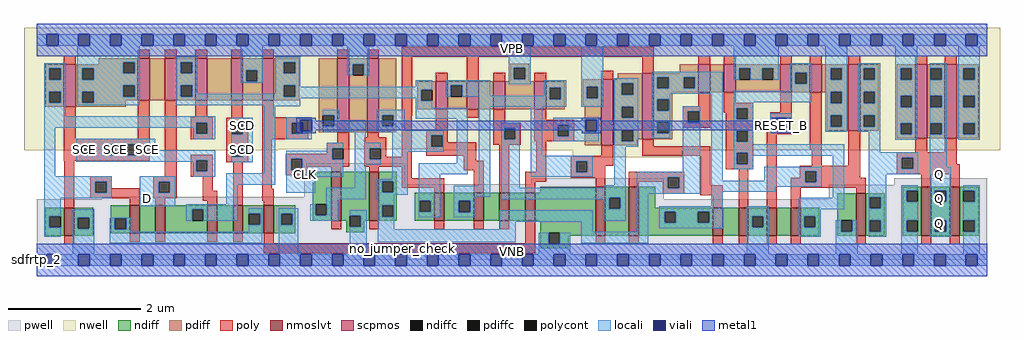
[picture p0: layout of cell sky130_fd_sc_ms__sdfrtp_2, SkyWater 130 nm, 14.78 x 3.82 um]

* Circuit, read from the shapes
.subckt sky130_fd_sc_ms__sdfrtp_2 CLK D RESET_B SCD SCE VGND VNB VPB VPWR Q
XM1 VGND SCE n1 VNB sky130_fd_pr__nfet_01v8_lvt w=0.42 l=0.15
XM2 n2 n1 n3 VNB sky130_fd_pr__nfet_01v8_lvt w=0.42 l=0.15
XM3 n4 D n2 VNB sky130_fd_pr__nfet_01v8_lvt w=0.42 l=0.15
XM4 n5 SCE n4 VNB sky130_fd_pr__nfet_01v8_lvt w=0.42 l=0.15
XM5 n3 SCD n5 VNB sky130_fd_pr__nfet_01v8_lvt w=0.42 l=0.15
XM6 VGND RESET_B n3 VNB sky130_fd_pr__nfet_01v8_lvt w=0.42 l=0.15
XM7 VGND CLK n6 VNB sky130_fd_pr__nfet_01v8_lvt w=0.74 l=0.15
XM8 n7 n6 VGND VNB sky130_fd_pr__nfet_01v8_lvt w=0.74 l=0.15
XM9 n8 n6 n4 VNB sky130_fd_pr__nfet_01v8_lvt w=0.42 l=0.15
XM10 n9 n7 n8 VNB sky130_fd_pr__nfet_01v8_lvt w=0.42 l=0.15
XM11 n10 n11 n9 VNB sky130_fd_pr__nfet_01v8_lvt w=0.42 l=0.15
XM12 VGND RESET_B n10 VNB sky130_fd_pr__nfet_01v8_lvt w=0.42 l=0.15
XM13 n11 n8 VGND VNB sky130_fd_pr__nfet_01v8_lvt w=0.74 l=0.15
XM14 n12 n7 n11 VNB sky130_fd_pr__nfet_01v8_lvt w=0.74 l=0.15
XM15 n13 n6 n12 VNB sky130_fd_pr__nfet_01v8_lvt w=0.42 l=0.15
XM16 VGND n14 n13 VNB sky130_fd_pr__nfet_01v8_lvt w=0.42 l=0.15
XM17 n15 RESET_B VGND VNB sky130_fd_pr__nfet_01v8_lvt w=0.42 l=0.15
XM18 n14 n12 n15 VNB sky130_fd_pr__nfet_01v8_lvt w=0.42 l=0.15
XM19 n16 n12 VGND VNB sky130_fd_pr__nfet_01v8_lvt w=0.64 l=0.15
XM20 Q n16 VGND VNB sky130_fd_pr__nfet_01v8_lvt w=0.74 l=0.15 m=2
XM21 VPWR SCE n1 VPB sky130_fd_pr__pfet_01v8 w=0.64 l=0.18
XM22 n17 SCE VPWR VPB sky130_fd_pr__pfet_01v8 w=0.64 l=0.18
XM23 n4 D n17 VPB sky130_fd_pr__pfet_01v8 w=0.64 l=0.18
XM24 n18 n1 n4 VPB sky130_fd_pr__pfet_01v8 w=0.64 l=0.18
XM25 VPWR SCD n18 VPB sky130_fd_pr__pfet_01v8 w=0.64 l=0.18
XM26 n4 RESET_B VPWR VPB sky130_fd_pr__pfet_01v8 w=0.64 l=0.18
XM27 VPWR CLK n6 VPB sky130_fd_pr__pfet_01v8 w=1.12 l=0.18
XM28 n7 n6 VPWR VPB sky130_fd_pr__pfet_01v8 w=1.12 l=0.18
XM29 n8 n7 n4 VPB sky130_fd_pr__pfet_01v8 w=0.42 l=0.18
XM30 n19 n6 n8 VPB sky130_fd_pr__pfet_01v8 w=0.42 l=0.18
XM31 VPWR n11 n19 VPB sky130_fd_pr__pfet_01v8 w=0.42 l=0.18
XM32 n8 RESET_B VPWR VPB sky130_fd_pr__pfet_01v8 w=0.42 l=0.18
XM33 n11 n8 VPWR VPB sky130_fd_pr__pfet_01v8 w=1 l=0.18
XM34 n12 n6 n11 VPB sky130_fd_pr__pfet_01v8 w=1 l=0.18
XM35 n20 n7 n12 VPB sky130_fd_pr__pfet_01v8 w=0.42 l=0.18
XM36 VPWR n14 n20 VPB sky130_fd_pr__pfet_01v8 w=0.42 l=0.18
XM37 n14 RESET_B VPWR VPB sky130_fd_pr__pfet_01v8 w=0.42 l=0.18
XM38 VPWR n12 n14 VPB sky130_fd_pr__pfet_01v8 w=0.42 l=0.18
XM39 n16 n12 VPWR VPB sky130_fd_pr__pfet_01v8 w=1 l=0.18
XM40 Q n16 VPWR VPB sky130_fd_pr__pfet_01v8 w=1.12 l=0.18 m=2
.ends

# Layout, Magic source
magic
tech sky130A
magscale 1 2
<< nwell >>
rect -38 335 2918 704
rect -38 332 732 335
rect 1210 332 2918 335
rect 1624 311 1956 332
<< pwell >>
rect 817 260 1117 293
rect 811 229 1117 260
rect 1499 229 1900 248
rect 811 191 1900 229
rect 2597 228 2879 248
rect 199 184 1900 191
rect 2399 184 2879 228
rect 1 49 2879 184
rect 0 0 2880 49
<< scpmos >>
rect 83 464 119 592
rect 307 483 343 611
rect 389 483 425 611
rect 481 483 517 611
rect 589 483 625 611
rect 683 483 719 611
rect 911 387 947 611
rect 1001 387 1037 611
rect 1209 457 1245 541
rect 1303 457 1339 541
rect 1383 457 1419 541
rect 1508 457 1544 541
rect 1710 347 1746 547
rect 1834 366 1870 566
rect 2004 508 2040 592
rect 2082 508 2118 592
rect 2252 508 2288 592
rect 2342 508 2378 592
rect 2459 392 2495 592
rect 2661 368 2697 592
rect 2751 368 2787 592
<< nmoslvt >>
rect 84 74 114 158
rect 282 81 312 165
rect 360 81 390 165
rect 517 81 547 165
rect 595 81 625 165
rect 688 81 718 165
rect 893 119 923 267
rect 1007 119 1037 267
rect 1205 119 1235 203
rect 1324 119 1354 203
rect 1402 119 1432 203
rect 1480 119 1510 203
rect 1693 74 1723 222
rect 1794 74 1824 222
rect 2048 74 2078 158
rect 2126 74 2156 158
rect 2212 74 2242 158
rect 2284 74 2314 158
rect 2482 74 2512 202
rect 2680 74 2710 222
rect 2766 74 2796 222
<< ndiff >>
rect 843 234 893 267
rect 837 169 893 234
rect 27 133 84 158
rect 27 99 39 133
rect 73 99 84 133
rect 27 74 84 99
rect 114 128 171 158
rect 114 94 125 128
rect 159 94 171 128
rect 114 74 171 94
rect 225 127 282 165
rect 225 93 237 127
rect 271 93 282 127
rect 225 81 282 93
rect 312 81 360 165
rect 390 153 517 165
rect 390 119 471 153
rect 505 119 517 153
rect 390 81 517 119
rect 547 81 595 165
rect 625 140 688 165
rect 625 106 643 140
rect 677 106 688 140
rect 625 81 688 106
rect 718 140 783 165
rect 718 106 741 140
rect 775 106 783 140
rect 837 135 845 169
rect 879 135 893 169
rect 837 119 893 135
rect 923 134 1007 267
rect 923 119 948 134
rect 718 81 783 106
rect 938 100 948 119
rect 982 119 1007 134
rect 1037 239 1091 267
rect 1037 205 1047 239
rect 1081 205 1091 239
rect 1037 165 1091 205
rect 1525 203 1693 222
rect 1037 131 1047 165
rect 1081 131 1091 165
rect 1037 119 1091 131
rect 1145 180 1205 203
rect 1145 146 1160 180
rect 1194 146 1205 180
rect 1145 119 1205 146
rect 1235 179 1324 203
rect 1235 145 1279 179
rect 1313 145 1324 179
rect 1235 119 1324 145
rect 1354 119 1402 203
rect 1432 119 1480 203
rect 1510 119 1693 203
rect 982 100 992 119
rect 938 84 992 100
rect 1525 82 1693 119
rect 1525 48 1551 82
rect 1585 74 1693 82
rect 1723 189 1794 222
rect 1723 155 1734 189
rect 1768 155 1794 189
rect 1723 74 1794 155
rect 1824 158 1874 222
rect 2623 210 2680 222
rect 1824 146 2048 158
rect 1824 112 1902 146
rect 1936 112 2003 146
rect 2037 112 2048 146
rect 1824 74 2048 112
rect 2078 74 2126 158
rect 2156 133 2212 158
rect 2156 99 2167 133
rect 2201 99 2212 133
rect 2156 74 2212 99
rect 2242 74 2284 158
rect 2314 133 2371 158
rect 2314 99 2325 133
rect 2359 99 2371 133
rect 2314 74 2371 99
rect 2425 120 2482 202
rect 2425 86 2437 120
rect 2471 86 2482 120
rect 2425 74 2482 86
rect 2512 190 2569 202
rect 2512 156 2523 190
rect 2557 156 2569 190
rect 2512 120 2569 156
rect 2512 86 2523 120
rect 2557 86 2569 120
rect 2512 74 2569 86
rect 2623 176 2635 210
rect 2669 176 2680 210
rect 2623 120 2680 176
rect 2623 86 2635 120
rect 2669 86 2680 120
rect 2623 74 2680 86
rect 2710 210 2766 222
rect 2710 176 2721 210
rect 2755 176 2766 210
rect 2710 120 2766 176
rect 2710 86 2721 120
rect 2755 86 2766 120
rect 2710 74 2766 86
rect 2796 210 2853 222
rect 2796 176 2807 210
rect 2841 176 2853 210
rect 2796 120 2853 176
rect 2796 86 2807 120
rect 2841 86 2853 120
rect 2796 74 2853 86
rect 1585 48 1612 74
rect 1525 36 1612 48
<< pdiff >>
rect 189 599 307 611
rect 189 592 263 599
rect 27 580 83 592
rect 27 546 39 580
rect 73 546 83 580
rect 27 510 83 546
rect 27 476 39 510
rect 73 476 83 510
rect 27 464 83 476
rect 119 580 263 592
rect 119 546 139 580
rect 173 565 263 580
rect 297 565 307 599
rect 173 546 307 565
rect 119 529 307 546
rect 119 510 263 529
rect 119 476 139 510
rect 173 495 263 510
rect 297 495 307 529
rect 173 483 307 495
rect 343 483 389 611
rect 425 599 481 611
rect 425 565 437 599
rect 471 565 481 599
rect 425 529 481 565
rect 425 495 437 529
rect 471 495 481 529
rect 425 483 481 495
rect 517 483 589 611
rect 625 575 683 611
rect 625 541 635 575
rect 669 541 683 575
rect 625 483 683 541
rect 719 599 795 611
rect 719 565 749 599
rect 783 565 795 599
rect 719 529 795 565
rect 719 495 749 529
rect 783 495 795 529
rect 719 483 795 495
rect 173 476 270 483
rect 119 464 270 476
rect 855 439 911 611
rect 855 405 867 439
rect 901 405 911 439
rect 855 387 911 405
rect 947 593 1001 611
rect 947 559 957 593
rect 991 559 1001 593
rect 947 387 1001 559
rect 1037 439 1089 611
rect 1037 405 1047 439
rect 1081 405 1089 439
rect 1037 387 1089 405
rect 1434 582 1493 594
rect 1434 548 1446 582
rect 1480 548 1493 582
rect 1434 541 1493 548
rect 1948 566 2004 592
rect 1761 547 1834 566
rect 1153 516 1209 541
rect 1153 482 1165 516
rect 1199 482 1209 516
rect 1153 457 1209 482
rect 1245 529 1303 541
rect 1245 495 1255 529
rect 1289 495 1303 529
rect 1245 457 1303 495
rect 1339 457 1383 541
rect 1419 457 1508 541
rect 1544 521 1600 541
rect 1544 487 1554 521
rect 1588 487 1600 521
rect 1544 457 1600 487
rect 1654 524 1710 547
rect 1654 490 1666 524
rect 1700 490 1710 524
rect 1654 468 1710 490
rect 1660 347 1710 468
rect 1746 535 1834 547
rect 1746 501 1773 535
rect 1807 501 1834 535
rect 1746 464 1834 501
rect 1746 430 1773 464
rect 1807 430 1834 464
rect 1746 393 1834 430
rect 1746 359 1773 393
rect 1807 366 1834 393
rect 1870 554 2004 566
rect 1870 520 1880 554
rect 1914 520 1960 554
rect 1994 520 2004 554
rect 1870 508 2004 520
rect 2040 508 2082 592
rect 2118 580 2252 592
rect 2118 546 2128 580
rect 2162 546 2198 580
rect 2232 546 2252 580
rect 2118 508 2252 546
rect 2288 567 2342 592
rect 2288 533 2298 567
rect 2332 533 2342 567
rect 2288 508 2342 533
rect 2378 580 2459 592
rect 2378 546 2405 580
rect 2439 546 2459 580
rect 2378 509 2459 546
rect 2378 508 2405 509
rect 1870 486 1925 508
rect 1870 452 1880 486
rect 1914 452 1925 486
rect 1870 418 1925 452
rect 1870 384 1880 418
rect 1914 384 1925 418
rect 1870 366 1925 384
rect 1807 359 1819 366
rect 1746 347 1819 359
rect 2393 475 2405 508
rect 2439 475 2459 509
rect 2393 438 2459 475
rect 2393 404 2405 438
rect 2439 404 2459 438
rect 2393 392 2459 404
rect 2495 580 2551 592
rect 2495 546 2505 580
rect 2539 546 2551 580
rect 2495 509 2551 546
rect 2495 475 2505 509
rect 2539 475 2551 509
rect 2495 438 2551 475
rect 2495 404 2505 438
rect 2539 404 2551 438
rect 2495 392 2551 404
rect 2605 580 2661 592
rect 2605 546 2617 580
rect 2651 546 2661 580
rect 2605 497 2661 546
rect 2605 463 2617 497
rect 2651 463 2661 497
rect 2605 414 2661 463
rect 2605 380 2617 414
rect 2651 380 2661 414
rect 2605 368 2661 380
rect 2697 580 2751 592
rect 2697 546 2707 580
rect 2741 546 2751 580
rect 2697 497 2751 546
rect 2697 463 2707 497
rect 2741 463 2751 497
rect 2697 414 2751 463
rect 2697 380 2707 414
rect 2741 380 2751 414
rect 2697 368 2751 380
rect 2787 580 2853 592
rect 2787 546 2807 580
rect 2841 546 2853 580
rect 2787 497 2853 546
rect 2787 463 2807 497
rect 2841 463 2853 497
rect 2787 414 2853 463
rect 2787 380 2807 414
rect 2841 380 2853 414
rect 2787 368 2853 380
<< ndiffc >>
rect 39 99 73 133
rect 125 94 159 128
rect 237 93 271 127
rect 471 119 505 153
rect 643 106 677 140
rect 741 106 775 140
rect 845 135 879 169
rect 948 100 982 134
rect 1047 205 1081 239
rect 1047 131 1081 165
rect 1160 146 1194 180
rect 1279 145 1313 179
rect 1551 48 1585 82
rect 1734 155 1768 189
rect 1902 112 1936 146
rect 2003 112 2037 146
rect 2167 99 2201 133
rect 2325 99 2359 133
rect 2437 86 2471 120
rect 2523 156 2557 190
rect 2523 86 2557 120
rect 2635 176 2669 210
rect 2635 86 2669 120
rect 2721 176 2755 210
rect 2721 86 2755 120
rect 2807 176 2841 210
rect 2807 86 2841 120
<< pdiffc >>
rect 39 546 73 580
rect 39 476 73 510
rect 139 546 173 580
rect 263 565 297 599
rect 139 476 173 510
rect 263 495 297 529
rect 437 565 471 599
rect 437 495 471 529
rect 635 541 669 575
rect 749 565 783 599
rect 749 495 783 529
rect 867 405 901 439
rect 957 559 991 593
rect 1047 405 1081 439
rect 1446 548 1480 582
rect 1165 482 1199 516
rect 1255 495 1289 529
rect 1554 487 1588 521
rect 1666 490 1700 524
rect 1773 501 1807 535
rect 1773 430 1807 464
rect 1773 359 1807 393
rect 1880 520 1914 554
rect 1960 520 1994 554
rect 2128 546 2162 580
rect 2198 546 2232 580
rect 2298 533 2332 567
rect 2405 546 2439 580
rect 1880 452 1914 486
rect 1880 384 1914 418
rect 2405 475 2439 509
rect 2405 404 2439 438
rect 2505 546 2539 580
rect 2505 475 2539 509
rect 2505 404 2539 438
rect 2617 546 2651 580
rect 2617 463 2651 497
rect 2617 380 2651 414
rect 2707 546 2741 580
rect 2707 463 2741 497
rect 2707 380 2741 414
rect 2807 546 2841 580
rect 2807 463 2841 497
rect 2807 380 2841 414
<< poly >>
rect 83 592 119 618
rect 307 611 343 637
rect 389 611 425 637
rect 481 611 517 637
rect 589 611 625 637
rect 683 611 719 637
rect 911 611 947 637
rect 1001 611 1037 637
rect 1106 615 1870 645
rect 83 367 119 464
rect 307 367 343 483
rect 83 351 343 367
rect 83 317 137 351
rect 171 317 205 351
rect 239 317 273 351
rect 307 317 343 351
rect 83 301 343 317
rect 84 158 114 301
rect 389 253 425 483
rect 481 432 517 483
rect 467 416 533 432
rect 589 430 625 483
rect 683 432 719 483
rect 467 382 483 416
rect 517 382 533 416
rect 467 366 533 382
rect 575 414 641 430
rect 575 380 591 414
rect 625 380 641 414
rect 575 346 641 380
rect 162 237 228 253
rect 162 203 178 237
rect 212 217 228 237
rect 354 237 425 253
rect 467 302 533 318
rect 467 268 483 302
rect 517 268 533 302
rect 575 312 591 346
rect 625 312 641 346
rect 575 296 641 312
rect 683 416 823 432
rect 683 382 773 416
rect 807 382 823 416
rect 1106 439 1138 615
rect 1209 541 1245 567
rect 1303 541 1339 615
rect 1383 541 1419 567
rect 1508 541 1544 567
rect 1710 547 1746 573
rect 1834 566 1870 615
rect 2004 592 2040 618
rect 2082 592 2118 618
rect 2252 592 2288 618
rect 2342 592 2378 618
rect 2459 592 2495 618
rect 2661 592 2697 618
rect 2751 592 2787 618
rect 683 366 823 382
rect 467 252 533 268
rect 212 203 312 217
rect 162 187 312 203
rect 354 203 370 237
rect 404 203 425 237
rect 354 187 425 203
rect 503 210 533 252
rect 282 165 312 187
rect 360 165 390 187
rect 503 180 547 210
rect 517 165 547 180
rect 595 165 625 296
rect 683 215 713 366
rect 911 355 947 387
rect 1001 372 1037 387
rect 879 339 947 355
rect 879 322 895 339
rect 755 306 895 322
rect 755 272 771 306
rect 805 305 895 306
rect 929 305 947 339
rect 805 282 947 305
rect 993 339 1059 372
rect 993 305 1009 339
rect 1043 312 1059 339
rect 1106 312 1136 439
rect 1209 393 1245 457
rect 1303 431 1339 457
rect 1383 415 1419 457
rect 1508 425 1544 457
rect 1383 399 1466 415
rect 1180 377 1246 393
rect 1180 343 1196 377
rect 1230 357 1246 377
rect 1383 365 1416 399
rect 1450 365 1466 399
rect 1230 343 1332 357
rect 1383 349 1466 365
rect 1508 409 1628 425
rect 1508 375 1578 409
rect 1612 375 1628 409
rect 1508 359 1628 375
rect 1180 316 1332 343
rect 1043 305 1136 312
rect 993 282 1136 305
rect 805 272 821 282
rect 755 256 821 272
rect 893 267 923 282
rect 1007 267 1037 282
rect 683 180 718 215
rect 688 165 718 180
rect 893 93 923 119
rect 1106 248 1136 282
rect 1294 301 1332 316
rect 1294 271 1354 301
rect 1106 218 1235 248
rect 1205 203 1235 218
rect 1324 203 1354 271
rect 1402 203 1432 349
rect 1514 267 1544 359
rect 2004 466 2040 508
rect 1957 450 2040 466
rect 1957 416 1973 450
rect 2007 416 2040 450
rect 2082 476 2118 508
rect 2082 460 2170 476
rect 2082 446 2120 460
rect 1957 400 2040 416
rect 2088 426 2120 446
rect 2154 426 2170 460
rect 2252 447 2288 508
rect 2088 392 2170 426
rect 2222 431 2288 447
rect 2222 411 2238 431
rect 1710 315 1746 347
rect 1834 345 1870 366
rect 2088 358 2120 392
rect 2154 358 2170 392
rect 1834 315 2040 345
rect 1480 237 1544 267
rect 1618 299 1746 315
rect 1618 265 1634 299
rect 1668 285 1746 299
rect 1668 265 1723 285
rect 1618 249 1723 265
rect 1480 203 1510 237
rect 1693 222 1723 249
rect 1794 251 1962 267
rect 1794 237 1912 251
rect 1794 222 1824 237
rect 1007 93 1037 119
rect 1205 93 1235 119
rect 1324 93 1354 119
rect 1402 93 1432 119
rect 84 48 114 74
rect 282 55 312 81
rect 360 55 390 81
rect 517 55 547 81
rect 595 55 625 81
rect 688 51 718 81
rect 1480 51 1510 119
rect 688 21 1510 51
rect 1896 217 1912 237
rect 1946 217 1962 251
rect 1896 201 1962 217
rect 2010 226 2040 315
rect 2088 324 2170 358
rect 2088 290 2120 324
rect 2154 290 2170 324
rect 2088 274 2170 290
rect 2212 397 2238 411
rect 2272 397 2288 431
rect 2212 381 2288 397
rect 2010 196 2078 226
rect 2048 158 2078 196
rect 2126 158 2156 274
rect 2212 158 2242 381
rect 2342 333 2378 508
rect 2348 285 2378 333
rect 2459 285 2495 392
rect 2661 326 2697 368
rect 2751 326 2787 368
rect 2312 269 2495 285
rect 2312 249 2328 269
rect 2284 235 2328 249
rect 2362 249 2495 269
rect 2605 310 2787 326
rect 2605 276 2621 310
rect 2655 290 2787 310
rect 2655 276 2796 290
rect 2605 260 2796 276
rect 2362 235 2512 249
rect 2284 219 2512 235
rect 2680 222 2710 260
rect 2766 222 2796 260
rect 2284 158 2314 219
rect 2482 202 2512 219
rect 1693 48 1723 74
rect 1794 48 1824 74
rect 2048 48 2078 74
rect 2126 48 2156 74
rect 2212 48 2242 74
rect 2284 48 2314 74
rect 2482 48 2512 74
rect 2680 48 2710 74
rect 2766 48 2796 74
<< polycont >>
rect 137 317 171 351
rect 205 317 239 351
rect 273 317 307 351
rect 483 382 517 416
rect 591 380 625 414
rect 178 203 212 237
rect 483 268 517 302
rect 591 312 625 346
rect 773 382 807 416
rect 370 203 404 237
rect 771 272 805 306
rect 895 305 929 339
rect 1009 305 1043 339
rect 1196 343 1230 377
rect 1416 365 1450 399
rect 1578 375 1612 409
rect 1973 416 2007 450
rect 2120 426 2154 460
rect 2120 358 2154 392
rect 1634 265 1668 299
rect 1912 217 1946 251
rect 2120 290 2154 324
rect 2238 397 2272 431
rect 2328 235 2362 269
rect 2621 276 2655 310
<< locali >>
rect 0 649 31 683
rect 65 649 127 683
rect 161 649 223 683
rect 257 649 319 683
rect 353 649 415 683
rect 449 649 511 683
rect 545 649 607 683
rect 641 649 703 683
rect 737 649 799 683
rect 833 649 895 683
rect 929 649 991 683
rect 1025 649 1087 683
rect 1121 649 1183 683
rect 1217 649 1279 683
rect 1313 649 1375 683
rect 1409 649 1471 683
rect 1505 649 1567 683
rect 1601 649 1663 683
rect 1697 649 1759 683
rect 1793 649 1855 683
rect 1889 649 1951 683
rect 1985 649 2047 683
rect 2081 649 2143 683
rect 2177 649 2239 683
rect 2273 649 2335 683
rect 2369 649 2431 683
rect 2465 649 2527 683
rect 2561 649 2623 683
rect 2657 649 2719 683
rect 2753 649 2815 683
rect 2849 649 2880 683
rect 123 599 313 649
rect 23 580 89 596
rect 23 546 39 580
rect 73 546 89 580
rect 23 510 89 546
rect 23 476 39 510
rect 73 476 89 510
rect 23 435 89 476
rect 123 580 263 599
rect 123 546 139 580
rect 173 565 263 580
rect 297 565 313 599
rect 173 546 313 565
rect 123 529 313 546
rect 123 510 263 529
rect 123 476 139 510
rect 173 495 263 510
rect 297 495 313 529
rect 173 476 313 495
rect 123 469 313 476
rect 421 599 487 615
rect 421 565 437 599
rect 471 565 487 599
rect 421 529 487 565
rect 619 575 685 649
rect 619 541 635 575
rect 669 541 685 575
rect 619 537 685 541
rect 723 599 799 615
rect 723 565 749 599
rect 783 565 799 599
rect 421 495 437 529
rect 471 503 487 529
rect 723 529 799 565
rect 941 593 1007 649
rect 941 559 957 593
rect 991 559 1007 593
rect 1430 582 1497 649
rect 1430 548 1446 582
rect 1480 548 1497 582
rect 723 503 749 529
rect 471 495 749 503
rect 783 525 799 529
rect 1149 525 1199 545
rect 783 516 1199 525
rect 783 495 1165 516
rect 421 489 1165 495
rect 421 469 799 489
rect 689 466 799 469
rect 1149 482 1165 489
rect 1239 529 1374 545
rect 1430 532 1497 548
rect 1239 495 1255 529
rect 1289 498 1374 529
rect 1538 521 1604 545
rect 1538 498 1554 521
rect 1289 495 1554 498
rect 23 416 541 435
rect 23 401 483 416
rect 23 253 57 401
rect 475 382 483 401
rect 517 382 541 416
rect 121 351 359 367
rect 475 366 541 382
rect 589 414 655 430
rect 589 380 591 414
rect 625 380 655 414
rect 121 317 137 351
rect 171 317 205 351
rect 239 317 273 351
rect 307 332 359 351
rect 589 346 655 380
rect 307 317 541 332
rect 121 302 541 317
rect 121 298 483 302
rect 475 268 483 298
rect 517 268 541 302
rect 589 312 591 346
rect 625 312 655 346
rect 589 296 655 312
rect 23 237 228 253
rect 23 203 178 237
rect 212 203 228 237
rect 23 187 228 203
rect 313 237 420 253
rect 475 252 541 268
rect 689 262 723 466
rect 1149 461 1199 482
rect 1340 487 1554 495
rect 1588 487 1604 521
rect 1340 464 1604 487
rect 1650 524 1716 649
rect 2112 580 2248 649
rect 1864 554 2078 570
rect 1650 490 1666 524
rect 1700 490 1716 524
rect 1650 464 1716 490
rect 1750 535 1823 551
rect 1750 501 1773 535
rect 1807 501 1823 535
rect 1750 464 1823 501
rect 867 439 917 455
rect 757 424 833 432
rect 757 416 799 424
rect 757 382 773 416
rect 807 382 833 390
rect 901 423 917 439
rect 1031 439 1115 455
rect 901 405 997 423
rect 867 389 997 405
rect 1031 405 1047 439
rect 1081 405 1115 439
rect 1149 427 1306 461
rect 1031 393 1115 405
rect 1031 389 1233 393
rect 757 366 833 382
rect 963 355 997 389
rect 1077 377 1233 389
rect 879 339 929 355
rect 879 330 895 339
rect 313 203 370 237
rect 404 203 420 237
rect 23 133 73 187
rect 313 162 420 203
rect 575 228 723 262
rect 757 306 895 330
rect 757 272 771 306
rect 805 305 895 306
rect 805 272 929 305
rect 757 252 929 272
rect 963 339 1043 355
rect 963 305 1009 339
rect 963 289 1043 305
rect 1077 343 1196 377
rect 1230 343 1233 377
rect 1077 327 1233 343
rect 575 169 609 228
rect 757 203 844 252
rect 963 218 997 289
rect 1077 244 1124 327
rect 1272 293 1306 427
rect 878 184 997 218
rect 1031 239 1124 244
rect 1031 205 1047 239
rect 1081 205 1124 239
rect 1031 197 1124 205
rect 1158 259 1306 293
rect 1031 184 1084 197
rect 878 169 914 184
rect 454 153 609 169
rect 23 99 39 133
rect 23 70 73 99
rect 109 128 175 153
rect 109 94 125 128
rect 159 94 175 128
rect 109 17 175 94
rect 221 127 287 128
rect 221 93 237 127
rect 271 93 287 127
rect 454 119 471 153
rect 505 119 609 153
rect 643 140 683 156
rect 221 85 287 93
rect 677 106 683 140
rect 643 85 683 106
rect 221 51 683 85
rect 733 140 793 156
rect 733 106 741 140
rect 775 106 793 140
rect 829 135 845 169
rect 879 135 914 169
rect 1034 165 1084 184
rect 829 119 914 135
rect 948 134 1000 150
rect 733 17 793 106
rect 982 100 1000 134
rect 948 17 1000 100
rect 1034 131 1047 165
rect 1081 131 1084 165
rect 1034 93 1084 131
rect 1158 180 1223 259
rect 1340 225 1374 464
rect 1158 146 1160 180
rect 1194 146 1223 180
rect 1158 130 1223 146
rect 1263 191 1374 225
rect 1408 399 1463 415
rect 1408 365 1416 399
rect 1450 365 1463 399
rect 1408 218 1463 365
rect 1497 315 1531 464
rect 1750 430 1773 464
rect 1807 430 1823 464
rect 1565 424 1703 430
rect 1565 409 1663 424
rect 1565 375 1578 409
rect 1612 390 1663 409
rect 1697 390 1703 424
rect 1612 375 1703 390
rect 1565 359 1703 375
rect 1750 393 1823 430
rect 1750 359 1773 393
rect 1807 359 1823 393
rect 1864 520 1880 554
rect 1914 520 1960 554
rect 1994 520 2078 554
rect 2112 546 2128 580
rect 2162 546 2198 580
rect 2232 546 2248 580
rect 2282 567 2348 596
rect 1864 504 2078 520
rect 2282 533 2298 567
rect 2332 533 2348 567
rect 2282 512 2348 533
rect 1864 486 1920 504
rect 1864 452 1880 486
rect 1914 452 1920 486
rect 1864 418 1920 452
rect 1864 384 1880 418
rect 1914 384 1920 418
rect 1864 368 1920 384
rect 1957 450 2010 466
rect 1957 416 1973 450
rect 2007 416 2010 450
rect 1750 343 1823 359
rect 1497 299 1684 315
rect 1497 265 1634 299
rect 1668 265 1684 299
rect 1497 252 1684 265
rect 1750 226 1784 343
rect 1957 267 2010 416
rect 1718 218 1784 226
rect 1263 179 1329 191
rect 1408 189 1784 218
rect 1408 184 1734 189
rect 1263 145 1279 179
rect 1313 145 1329 179
rect 1718 155 1734 184
rect 1768 155 1784 189
rect 1263 129 1329 145
rect 1403 116 1684 150
rect 1718 119 1784 155
rect 1818 251 2010 267
rect 1818 217 1912 251
rect 1946 217 2010 251
rect 1818 201 2010 217
rect 2044 240 2078 504
rect 2112 478 2348 512
rect 2389 580 2455 649
rect 2389 546 2405 580
rect 2439 546 2455 580
rect 2389 509 2455 546
rect 2112 460 2170 478
rect 2112 426 2120 460
rect 2154 426 2170 460
rect 2389 475 2405 509
rect 2439 475 2455 509
rect 2112 392 2170 426
rect 2112 358 2120 392
rect 2154 358 2170 392
rect 2222 431 2288 444
rect 2222 397 2238 431
rect 2272 424 2288 431
rect 2222 390 2239 397
rect 2273 390 2288 424
rect 2222 384 2288 390
rect 2389 438 2455 475
rect 2389 404 2405 438
rect 2439 404 2455 438
rect 2389 388 2455 404
rect 2489 580 2555 596
rect 2489 546 2505 580
rect 2539 546 2555 580
rect 2489 509 2555 546
rect 2489 475 2505 509
rect 2539 475 2555 509
rect 2489 438 2555 475
rect 2489 404 2505 438
rect 2539 404 2555 438
rect 2489 388 2555 404
rect 2112 350 2170 358
rect 2112 324 2446 350
rect 2112 290 2120 324
rect 2154 316 2446 324
rect 2154 290 2170 316
rect 2112 274 2170 290
rect 2204 269 2378 282
rect 2204 240 2328 269
rect 2044 235 2328 240
rect 2362 235 2378 269
rect 2044 222 2378 235
rect 2044 206 2238 222
rect 1403 93 1451 116
rect 1034 53 1451 93
rect 1650 85 1684 116
rect 1818 85 1852 201
rect 2044 162 2078 206
rect 2412 188 2446 316
rect 1886 146 2078 162
rect 1886 112 1902 146
rect 1936 112 2003 146
rect 2037 112 2078 146
rect 1886 96 2078 112
rect 2151 133 2217 162
rect 2151 99 2167 133
rect 2201 99 2217 133
rect 1521 48 1551 82
rect 1585 48 1616 82
rect 1650 51 1852 85
rect 1521 17 1616 48
rect 2151 17 2217 99
rect 2309 154 2446 188
rect 2521 326 2555 388
rect 2601 580 2667 649
rect 2601 546 2617 580
rect 2651 546 2667 580
rect 2601 497 2667 546
rect 2601 463 2617 497
rect 2651 463 2667 497
rect 2601 414 2667 463
rect 2601 380 2617 414
rect 2651 380 2667 414
rect 2601 364 2667 380
rect 2705 580 2757 596
rect 2705 546 2707 580
rect 2741 546 2757 580
rect 2705 497 2757 546
rect 2705 463 2707 497
rect 2741 463 2757 497
rect 2705 414 2757 463
rect 2705 380 2707 414
rect 2741 380 2757 414
rect 2521 310 2671 326
rect 2521 276 2621 310
rect 2655 276 2671 310
rect 2521 260 2671 276
rect 2705 282 2757 380
rect 2791 580 2857 649
rect 2791 546 2807 580
rect 2841 546 2857 580
rect 2791 497 2857 546
rect 2791 463 2807 497
rect 2841 463 2857 497
rect 2791 414 2857 463
rect 2791 380 2807 414
rect 2841 380 2857 414
rect 2791 364 2857 380
rect 2521 190 2573 260
rect 2521 156 2523 190
rect 2557 156 2573 190
rect 2309 133 2375 154
rect 2309 99 2325 133
rect 2359 99 2375 133
rect 2521 120 2573 156
rect 2309 70 2375 99
rect 2421 86 2437 120
rect 2471 86 2487 120
rect 2421 17 2487 86
rect 2521 86 2523 120
rect 2557 86 2573 120
rect 2521 70 2573 86
rect 2619 210 2669 226
rect 2619 176 2635 210
rect 2619 120 2669 176
rect 2619 86 2635 120
rect 2619 17 2669 86
rect 2705 210 2771 282
rect 2705 176 2721 210
rect 2755 176 2771 210
rect 2705 120 2771 176
rect 2705 86 2721 120
rect 2755 86 2771 120
rect 2705 70 2771 86
rect 2807 210 2857 226
rect 2841 176 2857 210
rect 2807 120 2857 176
rect 2841 86 2857 120
rect 2807 17 2857 86
rect 0 -17 31 17
rect 65 -17 127 17
rect 161 -17 223 17
rect 257 -17 319 17
rect 353 -17 415 17
rect 449 -17 511 17
rect 545 -17 607 17
rect 641 -17 703 17
rect 737 -17 799 17
rect 833 -17 895 17
rect 929 -17 991 17
rect 1025 -17 1087 17
rect 1121 -17 1183 17
rect 1217 -17 1279 17
rect 1313 -17 1375 17
rect 1409 -17 1471 17
rect 1505 -17 1567 17
rect 1601 -17 1663 17
rect 1697 -17 1759 17
rect 1793 -17 1855 17
rect 1889 -17 1951 17
rect 1985 -17 2047 17
rect 2081 -17 2143 17
rect 2177 -17 2239 17
rect 2273 -17 2335 17
rect 2369 -17 2431 17
rect 2465 -17 2527 17
rect 2561 -17 2623 17
rect 2657 -17 2719 17
rect 2753 -17 2815 17
rect 2849 -17 2880 17
<< viali >>
rect 31 649 65 683
rect 127 649 161 683
rect 223 649 257 683
rect 319 649 353 683
rect 415 649 449 683
rect 511 649 545 683
rect 607 649 641 683
rect 703 649 737 683
rect 799 649 833 683
rect 895 649 929 683
rect 991 649 1025 683
rect 1087 649 1121 683
rect 1183 649 1217 683
rect 1279 649 1313 683
rect 1375 649 1409 683
rect 1471 649 1505 683
rect 1567 649 1601 683
rect 1663 649 1697 683
rect 1759 649 1793 683
rect 1855 649 1889 683
rect 1951 649 1985 683
rect 2047 649 2081 683
rect 2143 649 2177 683
rect 2239 649 2273 683
rect 2335 649 2369 683
rect 2431 649 2465 683
rect 2527 649 2561 683
rect 2623 649 2657 683
rect 2719 649 2753 683
rect 2815 649 2849 683
rect 799 416 833 424
rect 799 390 807 416
rect 807 390 833 416
rect 1663 390 1697 424
rect 2239 397 2272 424
rect 2272 397 2273 424
rect 2239 390 2273 397
rect 31 -17 65 17
rect 127 -17 161 17
rect 223 -17 257 17
rect 319 -17 353 17
rect 415 -17 449 17
rect 511 -17 545 17
rect 607 -17 641 17
rect 703 -17 737 17
rect 799 -17 833 17
rect 895 -17 929 17
rect 991 -17 1025 17
rect 1087 -17 1121 17
rect 1183 -17 1217 17
rect 1279 -17 1313 17
rect 1375 -17 1409 17
rect 1471 -17 1505 17
rect 1567 -17 1601 17
rect 1663 -17 1697 17
rect 1759 -17 1793 17
rect 1855 -17 1889 17
rect 1951 -17 1985 17
rect 2047 -17 2081 17
rect 2143 -17 2177 17
rect 2239 -17 2273 17
rect 2335 -17 2369 17
rect 2431 -17 2465 17
rect 2527 -17 2561 17
rect 2623 -17 2657 17
rect 2719 -17 2753 17
rect 2815 -17 2849 17
<< metal1 >>
rect 0 683 2880 715
rect 0 649 31 683
rect 65 649 127 683
rect 161 649 223 683
rect 257 649 319 683
rect 353 649 415 683
rect 449 649 511 683
rect 545 649 607 683
rect 641 649 703 683
rect 737 649 799 683
rect 833 649 895 683
rect 929 649 991 683
rect 1025 649 1087 683
rect 1121 649 1183 683
rect 1217 649 1279 683
rect 1313 649 1375 683
rect 1409 649 1471 683
rect 1505 649 1567 683
rect 1601 649 1663 683
rect 1697 649 1759 683
rect 1793 649 1855 683
rect 1889 649 1951 683
rect 1985 649 2047 683
rect 2081 649 2143 683
rect 2177 649 2239 683
rect 2273 649 2335 683
rect 2369 649 2431 683
rect 2465 649 2527 683
rect 2561 649 2623 683
rect 2657 649 2719 683
rect 2753 649 2815 683
rect 2849 649 2880 683
rect 0 617 2880 649
rect 787 424 845 430
rect 787 390 799 424
rect 833 421 845 424
rect 1651 424 1709 430
rect 1651 421 1663 424
rect 833 393 1663 421
rect 833 390 845 393
rect 787 384 845 390
rect 1651 390 1663 393
rect 1697 421 1709 424
rect 2227 424 2285 430
rect 2227 421 2239 424
rect 1697 393 2239 421
rect 1697 390 1709 393
rect 1651 384 1709 390
rect 2227 390 2239 393
rect 2273 390 2285 424
rect 2227 384 2285 390
rect 0 17 2880 49
rect 0 -17 31 17
rect 65 -17 127 17
rect 161 -17 223 17
rect 257 -17 319 17
rect 353 -17 415 17
rect 449 -17 511 17
rect 545 -17 607 17
rect 641 -17 703 17
rect 737 -17 799 17
rect 833 -17 895 17
rect 929 -17 991 17
rect 1025 -17 1087 17
rect 1121 -17 1183 17
rect 1217 -17 1279 17
rect 1313 -17 1375 17
rect 1409 -17 1471 17
rect 1505 -17 1567 17
rect 1601 -17 1663 17
rect 1697 -17 1759 17
rect 1793 -17 1855 17
rect 1889 -17 1951 17
rect 1985 -17 2047 17
rect 2081 -17 2143 17
rect 2177 -17 2239 17
rect 2273 -17 2335 17
rect 2369 -17 2431 17
rect 2465 -17 2527 17
rect 2561 -17 2623 17
rect 2657 -17 2719 17
rect 2753 -17 2815 17
rect 2849 -17 2880 17
rect 0 -49 2880 -17
<< labels >>
flabel pwell s 0 0 2880 49 0 FreeSans 200 0 0 0 VNB
port 7 nsew ground bidirectional
flabel nwell s 0 617 2880 666 0 FreeSans 200 0 0 0 VPB
port 8 nsew power bidirectional
rlabel comment s 0 0 0 0 4 sdfrtp_2
flabel comment s 1481 630 1481 630 0 FreeSans 300 0 0 0 no_jumper_check
flabel comment s 1107 36 1107 36 0 FreeSans 300 0 0 0 no_jumper_check
flabel metal1 s 2239 390 2273 424 0 FreeSans 340 0 0 0 RESET_B
port 3 nsew signal input
flabel metal1 s 0 617 2880 666 0 FreeSans 340 0 0 0 VPWR
port 9 nsew power bidirectional
flabel metal1 s 0 0 2880 49 0 FreeSans 340 0 0 0 VGND
port 6 nsew ground bidirectional
flabel locali s 319 168 353 202 0 FreeSans 340 0 0 0 D
port 2 nsew signal input
flabel locali s 127 316 161 350 0 FreeSans 340 0 0 0 SCE
port 5 nsew signal input
flabel locali s 223 316 257 350 0 FreeSans 340 0 0 0 SCE
port 5 nsew signal input
flabel locali s 319 316 353 350 0 FreeSans 340 0 0 0 SCE
port 5 nsew signal input
flabel locali s 607 316 641 350 0 FreeSans 340 0 0 0 SCD
port 4 nsew signal input
flabel locali s 607 390 641 424 0 FreeSans 340 0 0 0 SCD
port 4 nsew signal input
flabel locali s 799 242 833 276 0 FreeSans 340 0 0 0 CLK
port 1 nsew clock input
flabel locali s 2719 94 2753 128 0 FreeSans 340 0 0 0 Q
port 10 nsew signal output
flabel locali s 2719 168 2753 202 0 FreeSans 340 0 0 0 Q
port 10 nsew signal output
flabel locali s 2719 242 2753 276 0 FreeSans 340 0 0 0 Q
port 10 nsew signal output
<< properties >>
string LEFsite unit
string LEFclass CORE
string FIXED_BBOX 0 0 2880 666
string GDS_FILE $PDKPATH/libs.ref/sky130_fd_sc_ms/gds/sky130_fd_sc_ms.gds
string LEFsymmetry X Y R90
string GDS_END 2087766
string GDS_START 2066772
<< end >>
